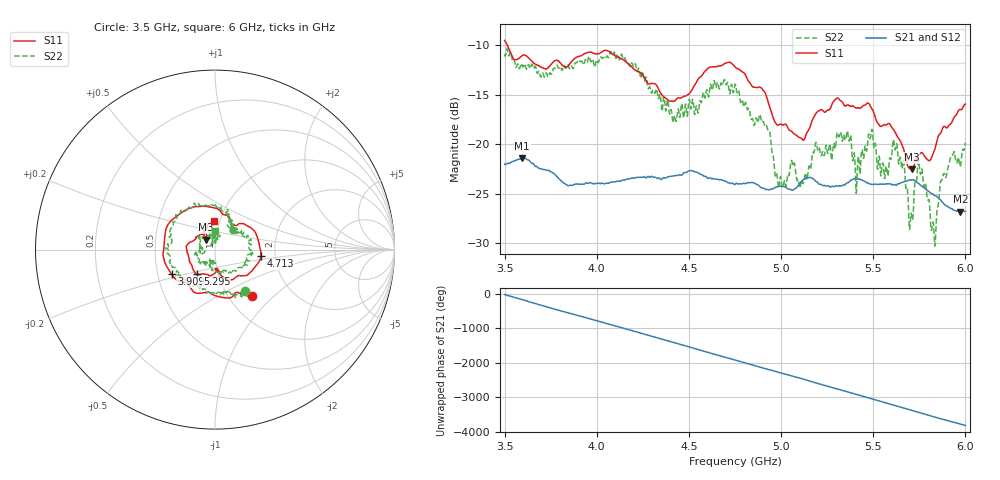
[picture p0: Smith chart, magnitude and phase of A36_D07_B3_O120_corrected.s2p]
! Created with skrf 1.9.0 (http://scikit-rf.org).
# Hz S RI R 50.0
!freq ReS11 ImS11 ReS21 ImS21 ReS12 ImS12 ReS22 ImS22
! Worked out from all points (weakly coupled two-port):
!   1601 points, 3.5 GHz to 6 GHz, reference 50 ohm
!   highest |S21| = -21.41 dB at 3.595 GHz (marker M1); lowest = -26.8 dB at 5.973 GHz (marker M2)
!   lowest |S11| = -22.5 dB at 5.709 GHz (marker M3), VSWR 1.16, Z = 45 + j5.08 ohm
!   |S11| at or under -10 dB: 3.514 GHz to end of sweep
!   |S22| runs from -30.3 to -10.4 dB; largest |S21 - S12| = 0.00093
!   S11 on the Smith chart (normalised r, x): 3.5 GHz: 1.28, -0.75; 3.909 GHz: 0.59, -0.17; 4.713 GHz: 1.68, -0.13; 5.295 GHz: 0.79, -0.22; 6 GHz: 0.94, +0.31
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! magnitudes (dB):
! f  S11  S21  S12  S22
! 3.5 GHz  -9.5  -22.0  -22.0  -10.9
! 3.595 GHz  -11.1  -21.4  -21.4  -12.1
! 3.909 GHz  -11.1  -24.0  -24.0  -11.7
! 3.917 GHz  -11.1  -24.1  -24.0  -11.6
! 4.334 GHz  -14.4  -23.4  -23.4  -15.4
! 4.422 GHz  -15.7  -23.2  -23.2  -17.1
! 4.713 GHz  -11.8  -23.9  -23.9  -13.8
! 4.75 GHz  -12.2  -24.1  -24.0  -14.0
! 4.928 GHz  -15.7  -24.6  -24.6  -18.6
! 4.997 GHz  -18.0  -24.2  -24.2  -23.3
! 5.167 GHz  -17.7  -23.4  -23.4  -21.4
! 5.295 GHz  -15.5  -24.2  -24.2  -20.4
! 5.417 GHz  -16.3  -23.5  -23.6  -21.5
! 5.486 GHz  -16.2  -24.0  -24.0  -19.3
! 5.584 GHz  -17.9  -24.0  -24.0  -22.4
! 5.619 GHz  -18.8  -24.1  -24.1  -20.6
! 5.709 GHz  -22.5  -23.6  -23.6  -27.2
! 5.753 GHz  -21.0  -24.1  -24.1  -22.7
! 5.828 GHz  -20.8  -25.1  -25.1  -28.3
! 5.875 GHz  -18.5  -25.9  -25.8  -23.4
! 5.973 GHz  -16.5  -26.8  -26.7  -22.2
! 6 GHz  -16.0  -26.8  -26.7  -19.9
